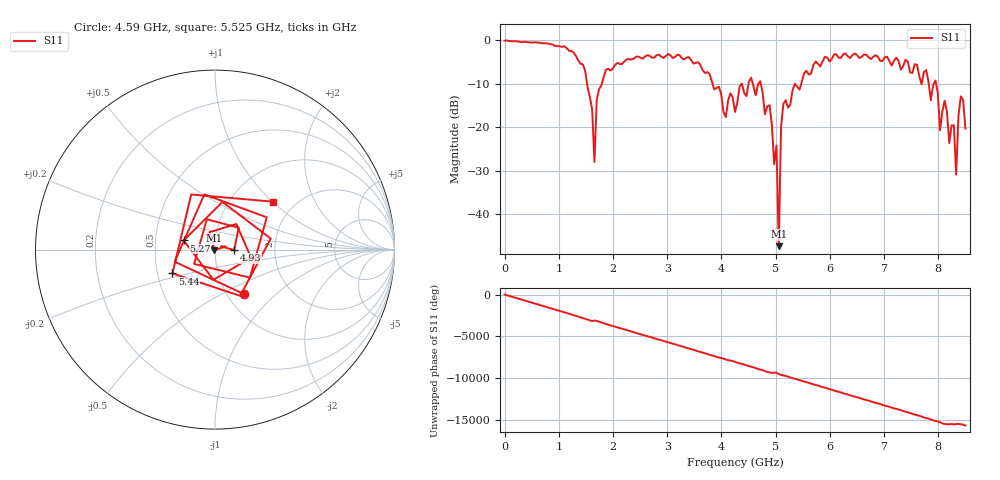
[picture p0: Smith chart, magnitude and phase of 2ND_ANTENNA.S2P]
!Agilent Technologies,E5071C,MY46101915,A.08.10
!Date: Mon Jan 01 00:47:23 2001
!Data & Calibration Information:
!Freq	S11:NONE(--)	S21:NONE(--)	S12:NONE(--)	S22:NONE(--)
# Hz S dB R 50
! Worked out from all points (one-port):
!   201 points, 100 kHz to 8.5 GHz, reference 50 ohm
!   lowest |S11| = -47.4 dB at 5.058 GHz (marker M1), VSWR 1.01, Z = 49.7 - j0.282 ohm
!   |S11| at or under -10 dB: 3.837 GHz to 4.373 GHz (535.9 MHz wide, 13.1 % of centre); 4.728 GHz to 5.355 GHz (627 MHz wide, 12.4 % of centre); 7.959 GHz to end of sweep (the widest 3 of 9)
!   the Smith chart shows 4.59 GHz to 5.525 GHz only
!   S11 on the Smith chart (normalised r, x): 4.59 GHz: 1.20, -0.65; 4.93 GHz: 1.24, -0.00; 5.27 GHz: 0.70, +0.07; 5.44 GHz: 0.60, -0.17; 5.525 GHz: 1.56, +1.01
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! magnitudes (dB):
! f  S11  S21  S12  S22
! 100 kHz  0.0  -  -  -
! 1.445 GHz  -5.5  -  -  -
! 1.658 GHz  -28.0  -  -  -
! 1.7 GHz  -13.6  -  -  -
! 1.87 GHz  -6.7  -  -  -
! 2.848 GHz  -3.3  -  -  -
! 4.25 GHz  -16.5  -  -  -
! 4.59 GHz  -10.5  -  -  -
! 4.93 GHz  -19.4  -  -  -
! 5.015 GHz  -24.2  -  -  -
! 5.058 GHz  -47.4  -  -  -
! 5.1 GHz  -19.8  -  -  -
! 5.27 GHz  -14.8  -  -  -
! 5.44 GHz  -11.3  -  -  -
! 5.525 GHz  -7.5  -  -  -
! 5.695 GHz  -5.7  -  -  -
! 7.098 GHz  -4.8  -  -  -
! 7.948 GHz  -9.2  -  -  -
! 8.288 GHz  -19.5  -  -  -
! 8.33 GHz  -30.9  -  -  -
! 8.415 GHz  -12.9  -  -  -
! 8.5 GHz  -20.3  -  -  -
